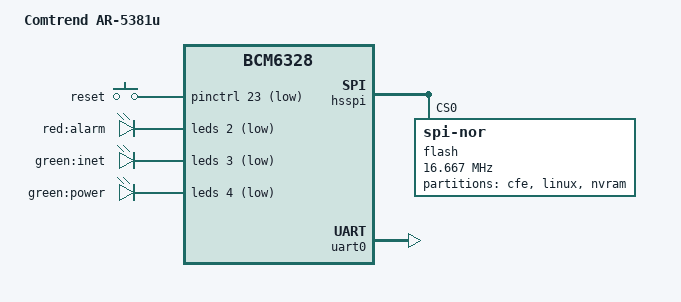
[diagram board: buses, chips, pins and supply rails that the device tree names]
#include "bcm6328.dtsi"

#include <dt-bindings/input/input.h>

/ {
	model = "Comtrend AR-5381u";
	compatible = "comtrend,ar-5381u", "brcm,bcm6328";

	aliases {
		led-boot = &led_power_green;
		led-failsafe = &led_alarm_red;
		led-running = &led_power_green;
		led-upgrade = &led_power_green;
	};

	chosen {
		bootargs = "rootfstype=squashfs,jffs2 noinitrd console=ttyS0,115200";
		stdout-path = "serial0:115200n8";
	};

	keys {
		compatible = "gpio-keys-polled";
		#address-cells = <1>;
		#size-cells = <0>;
		poll-interval = <20>;

		reset {
			label = "reset";
			gpios = <&pinctrl 23 1>;
			linux,code = <KEY_RESTART>;
			debounce-interval = <60>;
		};
	};
};

&hsspi {
	status = "okay";

	flash@0 {
		compatible = "jedec,spi-nor";
		spi-max-frequency = <16666667>;
		spi-tx-bus-width = <2>;
		spi-rx-bus-width = <2>;
		reg = <0>;

		#address-cells = <1>;
		#size-cells = <1>;

		partitions {
			compatible = "fixed-partitions";
			#address-cells = <1>;
			#size-cells = <1>;

			cfe@0 {
				reg = <0x000000 0x010000>;
				label = "cfe";
				read-only;
			};

			linux@10000 {
				reg = <0x010000 0xfe0000>;
				label = "linux";
				compatible = "brcm,bcm963xx-imagetag";
			};

			nvram@ff0000 {
				reg = <0xff0000 0x010000>;
				label = "nvram";
			};
		};
	};
};

&leds {
	status = "okay";

	pinctrl-names = "default";
	pinctrl-0 = <&pinctrl_leds>;

	led_alarm_red: led@2 {
		reg = <2>;
		active-low;
		label = "red:alarm";
	};

	led@3 {
		reg = <3>;
		active-low;
		label = "green:inet";
	};

	led_power_green: led@4 {
		reg = <4>;
		active-low;
		label = "green:power";
		default-state = "on";
	};
};

&pinctrl {
	pinctrl_leds: leds {
		function = "led";
		pins = "gpio2", "gpio3", "gpio4";
	};
};

&uart0 {
	status = "okay";
};
